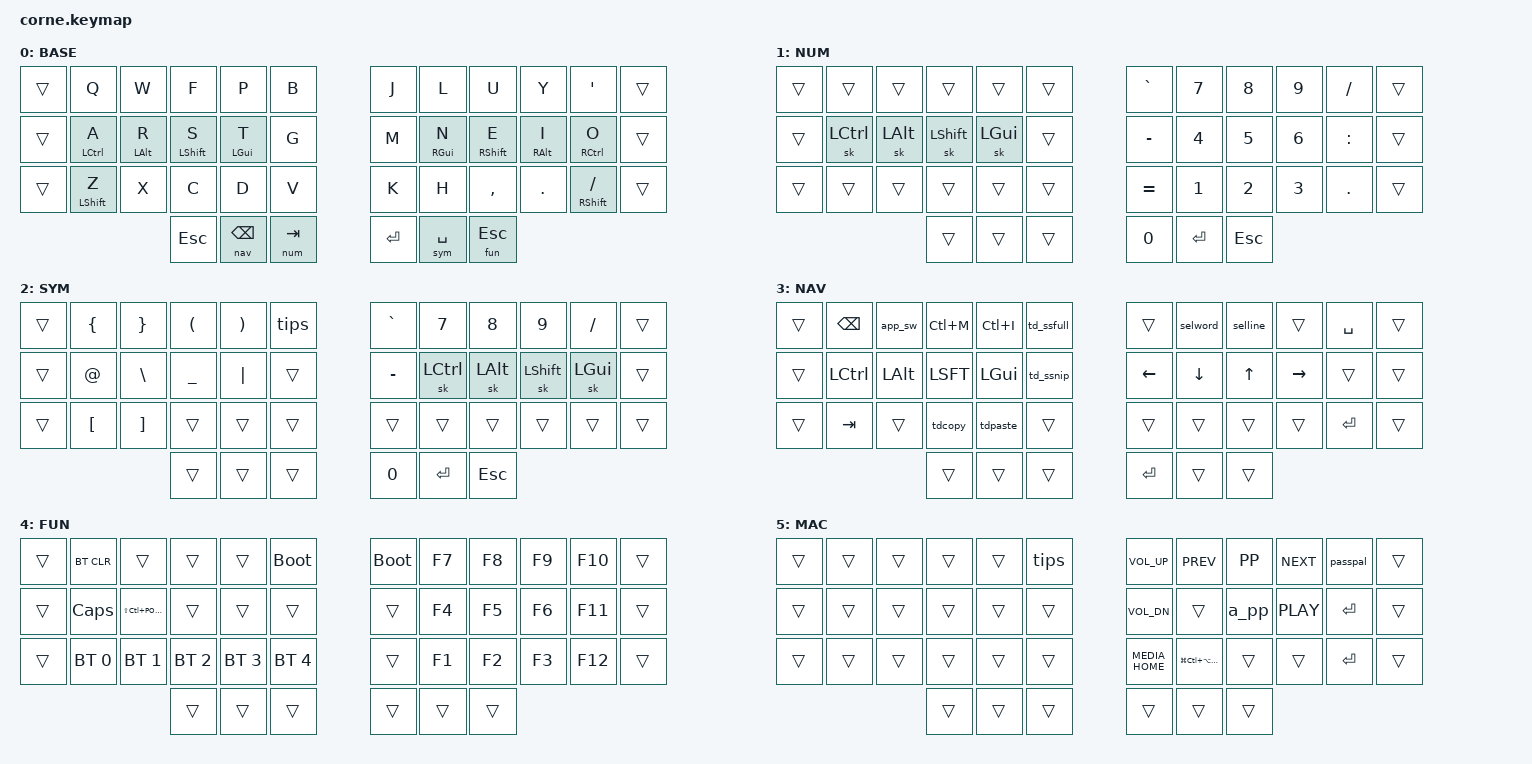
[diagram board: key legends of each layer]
/*
 * Copyright (c) 2020 The ZMK Contributors
 *
 * SPDX-License-Identifier: MIT
 */

#include <behaviors.dtsi>
#include <dt-bindings/zmk/keys.h>
#include <dt-bindings/zmk/bt.h>
    
    &mt {
        flavor = "tap-preferred";
        tapping_term_ms = <200>;
    };

    &lt {
        flavor = "tap-preferred";
        quick-tap-ms = <0>;
        tapping_term_ms = <175>;
    };

#define MON_L LC(LA(LS(N4)))
#define MON_M LC(LA(LS(N5)))
#define MON_R LC(LA(LS(N6)))
#define MON_BL LC(LA(LS(N1)))
#define MAXWIN LG(LC(LA(LS(M))))
#define MEH LC(LS(LALT))
#define num 1
#define sym 2
#define nav 3
#define fun 4
#define mac 5
#define RIGHT_ALPHAS 1 2 6 7 8 9 10 11 18 19 20 21 22 23 30 31 32 33 34 35 37 39 40 41
#define LEFT_ALPHAS 0 1 2 3 4 5 12 13 14 15 16 17 24 25 26 27 28 29 36 37 38

/ {

    behaviors {
        hm: homerow_mods {
            compatible = "zmk,behavior-hold-tap";
            label = "HOMEROW_MODS";
            #binding-cells = <2>;
            tapping-term-ms = <150>;
            quick-tap-ms = <150>;
            flavor = "tap-preferred";
            bindings = <&kp>, <&kp>;
        };

        lhm: left_hand_homerow_mods {
            compatible = "zmk,behavior-hold-tap";
            label = "LEFT_HOMEROW_MODS";
            #binding-cells = <2>;
            tapping-term-ms = <250>;
            quick-tap-ms = <200>;
            require-prior-idle-ms = <150>;
            flavor = "tap-preferred";
            bindings = <&kp>, <&kp>;
            hold-trigger-key-positions = <RIGHT_ALPHAS>;
            hold-trigger-on-release;
        };

        rhm: right_hand_homerow_mods {
            compatible = "zmk,behavior-hold-tap";
            label = "RIGHT_HOMEROW_MODS";
            #binding-cells = <2>;
            tapping-term-ms = <250>;
            quick-tap-ms = <200>;
            require-prior-idle-ms = <150>;
            flavor = "tap-preferred";
            bindings = <&kp>, <&kp>;
            hold-trigger-key-positions = <LEFT_ALPHAS>;
            hold-trigger-on-release;
        };

        lshm: left_hand_shift {
            compatible = "zmk,behavior-hold-tap";
            label = "LEFT_HOMEROW_SHIFT";
            #binding-cells = <2>;
            tapping-term-ms = <300>;
            quick-tap-ms = <150>;
            flavor = "balanced";
            bindings = <&kp>, <&kp>;
            hold-trigger-key-positions = <RIGHT_ALPHAS>;
            hold-trigger-on-release;
        };

        rshm: right_hand_shift {
            compatible = "zmk,behavior-hold-tap";
            label = "RIGHT_HOMEROW_SHIFT";
            #binding-cells = <2>;
            tapping-term-ms = <300>;
            quick-tap-ms = <150>;
            flavor = "balanced";
            bindings = <&kp>, <&kp>;
            hold-trigger-key-positions = <LEFT_ALPHAS>;
            hold-trigger-on-release;
        };

        ltt: layer_tap_tp {
            compatible = "zmk,behavior-hold-tap";
            label = "LAYER_TAPTP";
            #binding-cells = <2>;
            tapping-term-ms = <175>;
            quick-tap-ms = <200>;
            flavor = "tap-preferred";
            bindings = <&mo>, <&kp>;
        };

        lth: layer_tap_hp {
            compatible = "zmk,behavior-hold-tap";
            label = "LAYER_TAPHP";
            #binding-cells = <2>;
            tapping-term-ms = <175>;
            quick-tap-ms = <200>;
            flavor = "hold-preferred";
            bindings = <&mo>, <&kp>;
        };

        ltcw: layer_tap_capsword {
            compatible = "zmk,behavior-hold-tap";
            label = "LAYER_TAPCW";
            #binding-cells = <2>;
            tapping-term-ms = <200>;
            quick-tap-ms = <200>;
            flavor = "hold-preferred";
            bindings = <&mo>, <&caps_word>;
        };

        skq: sticky_key_quick_release {
          compatible = "zmk,behavior-sticky-key";
          label = "STICKY_KEY_QUICK_RELEASE";
          #binding-cells = <1>;
          bindings = <&kp>;
          release-after-ms = <1000>;
          quick-release;
          ignore-modifiers;
        };

        lts: layer_tap_sk {
            compatible = "zmk,behavior-hold-tap";
            label = "LAYER_TAPSK";
            #binding-cells = <2>;
            tapping-term-ms = <175>;
            quick-tap-ms = <200>;
            flavor = "tap-preferred";
            bindings = <&mo>, <&skq>;
        };

        skmt: sticky_key_mod_tap {
            compatible = "zmk,behavior-hold-tap";
            label = "STICKY_KEY_MOD_TAP";
            #binding-cells = <2>;
            tapping-term-ms = <225>;
            quick-tap-ms = <0>;
            flavor = "tap-preferred";
            bindings = <&kp>, <&skq>;
        };

        cw_thumb: capsword_thumb {
            compatible = "zmk,behavior-mod-morph";
            label = "GRAVE_ESCAPE";
            #binding-cells = <0>;
            bindings = <&lts num LSFT>, <&caps_word>;
            mods = <(MOD_LSFT|MOD_RSFT)>;
        };

        paren: paren {
            label = "Parenthesis";
            compatible = "zmk,behavior-macro";
            #binding-cells = <0>;
            wait-ms = <20>;
            tap-ms = <30>;
            bindings
                = <&macro_tap &kp LPAR &kp RPAR &kp LEFT>
                ;
        };

        curb: curb {
            label = "Curly Braces";
            compatible = "zmk,behavior-macro";
            #binding-cells = <0>;
            wait-ms = <20>;
            tap-ms = <30>;
            bindings
                = <&macro_tap &kp LBRC &kp RBRC &kp LEFT>
                ;
        };

        bracket: bracket {
            label = "Brackets";
            compatible = "zmk,behavior-macro";
            #binding-cells = <0>;
            wait-ms = <20>;
            tap-ms = <30>;
            bindings
                = <&macro_tap &kp LBKT &kp RBKT &kp LEFT>
                ;
        };

        tdpar: tap_dance_0 {
            compatible = "zmk,behavior-tap-dance";
            label = "TAP_DANCE_0";
            #binding-cells = <0>;
            tapping-term-ms = <200>;
            bindings = <&paren>, <&kp LPAR>;
        };

        tdcurb: tap_dance_1 {
            compatible = "zmk,behavior-tap-dance";
            label = "TAP_DANCE_1";
            #binding-cells = <0>;
            tapping-term-ms = <200>;
            bindings = <&curb>, <&kp LBRC>;
        };

        tdbrkt: tap_dance_2 {
            compatible = "zmk,behavior-tap-dance";
            label = "TAP_DANCE_2";
            #binding-cells = <0>;
            tapping-term-ms = <200>;
            bindings = <&bracket>, <&kp LBKT>;
        };

        tdmonl: tap_dance_3 {
            compatible = "zmk,behavior-tap-dance";
            label = "TAP_DANCE_3";
            #binding-cells = <0>;
            tapping-term-ms = <150>;
            bindings = <&mt (LG(LA(LS(LC(N4))))) (LA(LS(LC(N4))))>, <&trans>;
        };

        tdmonm: tap_dance_4 {
            compatible = "zmk,behavior-tap-dance";
            label = "TAP_DANCE_4";
            #binding-cells = <0>;
            tapping-term-ms = <150>;
            bindings = <&mt (LG(LA(LS(LC(N5))))) (LA(LS(LC(N5))))>, <&trans>;
        };

        tdmonr: tap_dance_5 {
            compatible = "zmk,behavior-tap-dance";
            label = "TAP_DANCE_5";
            #binding-cells = <0>;
            tapping-term-ms = <150>;
            bindings = <&mt (LG(LA(LS(LC(N6))))) (LA(LS(LC(N6))))>, <&trans>;
        };

        tdmonbm: tap_dance_6 {
            compatible = "zmk,behavior-tap-dance";
            label = "TAP_DANCE_6";
            #binding-cells = <0>;
            tapping-term-ms = <150>;
            bindings = <&mt (LG(LA(LS(LC(N1))))) (LA(LS(LC(N1))))>, <&trans>;
        };

        tdpaste: tap_dance_7 {
            compatible = "zmk,behavior-tap-dance";
            label = "TAP_DANCE_7";
            #binding-cells = <0>;
            tapping-term-ms = <150>;
            bindings = <&mt (LG(LA(V))) (LG(V))>, <&kp (LG(LC(V)))>;
        };

        tdcopy: tap_dance_8 {
            compatible = "zmk,behavior-tap-dance";
            label = "TAP_DANCE_8";
            #binding-cells = <0>;
            tapping-term-ms = <150>;
            bindings = <&mt (LG(X)) (LG(C))>, <&trans>;
        };

        gresc: grave_escape {
            compatible = "zmk,behavior-mod-morph";
            label = "GRAVE_ESCAPE";
            #binding-cells = <0>;
            bindings = <&kp ESC>, <&kp GRAVE>;
            mods = <(MOD_LGUI|MOD_LSFT|MOD_RGUI|MOD_RSFT)>;
        };

        td_ssfull: td_ssfull {
            compatible = "zmk,behavior-tap-dance";
            label = "Screenshot Full";
            #binding-cells = <0>;
            tapping-term-ms = <150>;
            bindings = <&mt (LG(LC(LS(N3)))) (LG(LS(N3)))>, <&trans>;
        };

        td_ssnip: td_ssnip {
            compatible = "zmk,behavior-tap-dance";
            label = "Screenshot Snippet";
            #binding-cells = <0>;
            tapping-term-ms = <150>;
            bindings = <&mt (LG(LC(LS(N4)))) (LG(LS(N4)))>, <&trans>;
        };

    };

        macros {
        tips: tips {
            label = "TIPS";
            compatible = "zmk,behavior-macro";
            #binding-cells = <0>;
            wait-ms = <10>;
            tap-ms = <20>;
            bindings
                = <&macro_tap &kp T &kp R &kp U &kp E &kp I &kp P &kp S &kp O &kp L &kp U &kp T &kp I &kp O &kp N &kp S &kp DOT &kp C &kp O &kp M>
                ;
          };

        pass: pass {
            label = "Pass";
            compatible = "zmk,behavior-macro";
            #binding-cells = <0>;
            wait-ms = <20>;
            tap-ms = <30>;
            bindings
                = <&macro_press &kp LSFT>
                , <&macro_tap &kp M> 
                , <&macro_release &kp LSFT>
                , <&macro_tap &kp AT &kp T &kp T &kp H &kp E &kp W &kp N6 &kp N7 &kp N8 &kp N6 &kp RET>
                ;
          };

        app_sw: app_sw {
            label = "App Switcher";
            compatible = "zmk,behavior-macro";
            #binding-cells = <0>;
            wait-ms = <20>;
            tap-ms = <30>;
            bindings
                = <&macro_press &kp LGUI>
                , <&macro_tap &kp TAB>
                , <&macro_pause_for_release>
                , <&macro_release &kp LGUI>
                ;
          };

        selline: selline {
            label = "Select Line";
            compatible = "zmk,behavior-macro";
            #binding-cells = <0>;
            wait-ms = <20>;
            tap-ms = <30>;
            bindings
                = <&macro_press &kp LGUI>
                , <&macro_tap &kp LEFT> 
                , <&macro_press &kp LSFT>
                , <&macro_tap &kp RIGHT> 
                , <&macro_release &kp LSFT>
                , <&macro_release &kp LGUI>
                ;
          };

        selword: selword {
            label = "Select Word";
            compatible = "zmk,behavior-macro";
            #binding-cells = <0>;
            wait-ms = <20>;
            tap-ms = <30>;
            bindings
                = <&macro_press &kp LALT>
                , <&macro_tap &kp LEFT> 
                , <&macro_press &kp LSFT>
                , <&macro_tap &kp RIGHT> 
                , <&macro_release &kp LSFT>
                , <&macro_release &kp LALT>
                ;
          };

        passpal: passpal {
            label = "Password Palette";
            compatible = "zmk,behavior-macro";
            #binding-cells = <0>;
            wait-ms = <20>;
            tap-ms = <30>;
            bindings
                = <&macro_press &kp LGUI>
                , <&macro_press &kp LALT>
                , <&macro_press &kp LSFT>
                , <&macro_press &kp LCTRL>
                , <&macro_tap &kp P> 
                , <&macro_release &kp LGUI>
                , <&macro_release &kp LALT>
                , <&macro_release &kp LSFT>
                , <&macro_release &kp LCTRL>
                , <&macro_tap &sk LCTRL>
                ;
          };

        a_pp: a_pp {
            label = "Android Play Pause";
            compatible = "zmk,behavior-macro";
            #binding-cells = <0>;
            wait-ms = <100>;
            tap-ms = <80>;
            bindings
                = <&macro_tap &bt BT_SEL 1>
                , <&macro_tap &kp K_PP>
                , <&macro_tap &bt BT_SEL 0>
                ;
          };

        };

        combos {
        compatible = "zmk,combos";
          combo_esc {
              timeout-ms = <50>;
              key-positions = <2 3>;
              bindings = <&kp ESC>;
          };

          combo_capsword {
              timeout-ms = <50>;
              key-positions = <15 20>;
              bindings = <&caps_word>;
          };

          combo_power {
              timeout-ms = <50>;
              key-positions = <1 2 38>;
              bindings = <&kp C_POWER>;
          };

          combo_pass {
              timeout-ms = <50>;
              key-positions = <13 14 37>;
              bindings = <&pass>;
          };
        };



        keymap {
                compatible = "zmk,keymap";
                
       		default_layer {
    label = "BASE";
		bindings = <
&trans		&kp Q       &kp W        &kp F        &kp P        &kp B 			                    &kp J        &kp L        &kp U        &kp Y        &kp QUOT          &trans 
&trans		&lhm LCTRL A &lhm LALT R &lshm LSHFT S &lhm LGUI T  &kp G                          &kp M        &rshm RGUI N  &rhm RSHFT E &rhm RALT I &rhm RCTRL O &trans
&trans		&lhm LSHFT Z  &kp X        &kp C        &kp D        &kp V			                    &kp K        &kp H        &kp CMMA     &kp DOT      &rhm RSHFT SLASH &trans
          				                &kp ESC &lth nav BSPC &lth num TAB                        &kp RET &ltt sym SPACE     &lth fun ESC
		>;
		};

       		numpad_layer {
    label = "NUM";
		bindings = <
&trans		&trans       &trans             &trans          &trans         &trans 			     &kp GRAVE     &kp N7  &kp N8 &kp N9 &kp SLASH &trans    
&trans		&sk LCTRL    &sk LALT           &sk LSHFT       &sk LGUI       &trans            &kp MINUS     &kp N4  &kp N5 &kp N6 &kp COLON &trans
&trans		&trans       &trans             &trans          &trans         &trans			       &kp EQUAL     &kp N1  &kp N2 &kp N3 &kp DOT &trans
          				                           &trans &trans         &trans          &kp N0 &kp RET  &kp ESC
		>;
		};
		
       		symbol_layer {
    label = "SYM";
		bindings = <
&trans		&kp LBRC     &kp RBRC           &kp LPAR       &kp RPAR       &tips 			     &kp GRAVE     &kp N7       &kp N8     &kp N9      &kp SLASH &trans    
&trans		&kp AT       &kp BSLH           &kp UNDER      &kp PIPE       &trans           &kp MINUS     &sk LCTRL    &sk LALT   &sk LSHFT   &sk LGUI  &trans
&trans		&kp LBKT     &kp RBKT           &trans         &trans         &trans			     &trans        &trans       &trans     &trans      &trans    &trans
          				                           &trans &trans         &trans          &kp N0 &kp RET  &kp ESC
		>;
		};
		    navigation_layer {
    label = "NAV";
		bindings = <
&trans		&kp BSPC  &app_sw   &kp LC(M) &kp LC(I) &td_ssfull             &trans   &selword   &selline &trans    &kp SPACE  &trans
&trans		&kp LCTRL &kp LALT  &kp LSFT  &kp LGUI  &td_ssnip              &kp LEFT &kp DOWN &kp UP &kp RIGHT &trans &trans
&trans		&kp TAB   &trans    &tdcopy   &tdpaste  &trans  		        &trans   &trans   &trans &trans    &kp RET &trans
					                        &trans &trans    &trans          		&kp RET  &trans &trans
		>;
		};
		
		    function_layer {
        label = "FUN";
		bindings = <
&trans		&bt BT_CLR   &trans              &trans       &trans       &bootloader        &bootloader &kp F7 &kp F8 &kp F9 &kp F10  &trans
&trans		&kp CAPS     &kp LS(LC(K_POWER)) &trans       &trans       &trans             &trans      &kp F4 &kp F5 &kp F6 &kp F11 &trans
&trans		&bt BT_SEL 0 &bt BT_SEL 1        &bt BT_SEL 2 &bt BT_SEL 3 &bt BT_SEL 4       &trans      &kp F1 &kp F2 &kp F3 &kp F12 &trans
					                              &trans    &trans       &trans             &trans      &trans &trans
		>;
		};
        
		    macro_layer {
        label = "MAC";
		bindings = <
&trans		&trans   &trans   &trans   &trans   &tips    			              &kp K_VOL_UP   &kp K_PREV   &kp K_PP  &kp K_NEXT    &passpal  &trans
&trans		&trans   &trans   &trans   &trans   &trans                      &kp K_VOL_DN   &trans  &a_pp  &kp C_PLAY  &kp RET &trans
&trans		&trans   &trans   &trans   &trans   &trans                      &kp C_MEDIA_HOME   &kp MAXWIN     &trans  &trans       &kp RET &trans
					            &trans     &trans   &trans                      		&trans &trans &trans
		>;
		};
		
	};
};
